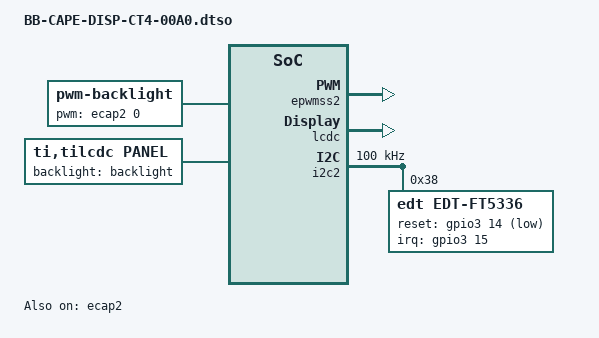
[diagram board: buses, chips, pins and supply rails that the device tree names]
// SPDX-License-Identifier: GPL-2.0-only
/*
 * Copyright (C) 2012 Texas Instruments Incorporated - https://www.ti.com/
 */

/dts-v1/;
/plugin/;

#include <dt-bindings/gpio/gpio.h>
#include <dt-bindings/interrupt-controller/irq.h>
#include <dt-bindings/pinctrl/am33xx.h>

/*
 * Helper to show loaded overlays under: /proc/device-tree/chosen/overlays/
 */
&{/chosen} {
	overlays {
		BB-CAPE-DISP-CT4-00A0.kernel = __TIMESTAMP__;
	};
};

/*
 * Free up the pins used by the cape from the pinmux helpers.
 */
&ocp {
	P8_45_pinmux { status = "disabled"; };	/* lcd: lcd_data0 */
	P8_46_pinmux { status = "disabled"; };	/* lcd: lcd_data1 */
	P8_43_pinmux { status = "disabled"; };	/* lcd: lcd_data2 */
	P8_44_pinmux { status = "disabled"; };	/* lcd: lcd_data3 */
	P8_41_pinmux { status = "disabled"; };	/* lcd: lcd_data4 */
	P8_42_pinmux { status = "disabled"; };	/* lcd: lcd_data5 */
	P8_39_pinmux { status = "disabled"; };	/* lcd: lcd_data6 */
	P8_40_pinmux { status = "disabled"; };	/* lcd: lcd_data7 */
	P8_37_pinmux { status = "disabled"; };	/* lcd: lcd_data8 */
	P8_38_pinmux { status = "disabled"; };	/* lcd: lcd_data9 */
	P8_36_pinmux { status = "disabled"; };	/* lcd: lcd_data10 */
	P8_34_pinmux { status = "disabled"; };	/* lcd: lcd_data11 */
	P8_35_pinmux { status = "disabled"; };	/* lcd: lcd_data12 */
	P8_33_pinmux { status = "disabled"; };	/* lcd: lcd_data13 */
	P8_31_pinmux { status = "disabled"; };	/* lcd: lcd_data14 */
	P8_32_pinmux { status = "disabled"; };	/* lcd: lcd_data15 */

	P8_27_pinmux { status = "disabled"; };	/* lcd: lcd_vsync */
	P8_29_pinmux { status = "disabled"; };	/* lcd: lcd_hsync */
	P8_28_pinmux { status = "disabled"; };	/* lcd: lcd_pclk */
	P8_30_pinmux { status = "disabled"; };	/* lcd: lcd_ac_bias_en */

	P9_28_pinmux { status = "disabled"; };	/* pwm: eCAP2_in_PWM2_out */

	P9_29_pinmux { status = "disabled"; };	/* ft5336: gpio3_15 */
	P9_31_pinmux { status = "disabled"; };	/* ft5336: gpio3_14 */
};

&am33xx_pinmux {
	bb_lcd_pwm_backlight_pins: pinmux_bb_lcd_pwm_backlight_pins {
		pinctrl-single,pins = <
			AM33XX_PADCONF(AM335X_PIN_MCASP0_AHCLKR, PIN_OUTPUT_PULLDOWN,  MUX_MODE4) /* mcasp0_ahclkr.eCAP2_in_PWM2_out */
		>;
	};

	bb_lcd_lcd_pins: pinmux_bb_lcd_lcd_pins {
		pinctrl-single,pins = <
			AM33XX_PADCONF(AM335X_PIN_LCD_DATA0, PIN_OUTPUT, MUX_MODE0)
			AM33XX_PADCONF(AM335X_PIN_LCD_DATA1, PIN_OUTPUT, MUX_MODE0)
			AM33XX_PADCONF(AM335X_PIN_LCD_DATA2, PIN_OUTPUT, MUX_MODE0)
			AM33XX_PADCONF(AM335X_PIN_LCD_DATA3, PIN_OUTPUT, MUX_MODE0)
			AM33XX_PADCONF(AM335X_PIN_LCD_DATA4, PIN_OUTPUT, MUX_MODE0)
			AM33XX_PADCONF(AM335X_PIN_LCD_DATA5, PIN_OUTPUT, MUX_MODE0)
			AM33XX_PADCONF(AM335X_PIN_LCD_DATA6, PIN_OUTPUT, MUX_MODE0)
			AM33XX_PADCONF(AM335X_PIN_LCD_DATA7, PIN_OUTPUT, MUX_MODE0)
			AM33XX_PADCONF(AM335X_PIN_LCD_DATA8, PIN_OUTPUT, MUX_MODE0)
			AM33XX_PADCONF(AM335X_PIN_LCD_DATA9, PIN_OUTPUT, MUX_MODE0)
			AM33XX_PADCONF(AM335X_PIN_LCD_DATA10, PIN_OUTPUT, MUX_MODE0)
			AM33XX_PADCONF(AM335X_PIN_LCD_DATA11, PIN_OUTPUT, MUX_MODE0)
			AM33XX_PADCONF(AM335X_PIN_LCD_DATA12, PIN_OUTPUT, MUX_MODE0)
			AM33XX_PADCONF(AM335X_PIN_LCD_DATA13, PIN_OUTPUT, MUX_MODE0)
			AM33XX_PADCONF(AM335X_PIN_LCD_DATA14, PIN_OUTPUT, MUX_MODE0)
			AM33XX_PADCONF(AM335X_PIN_LCD_DATA15, PIN_OUTPUT, MUX_MODE0)

			AM33XX_PADCONF(AM335X_PIN_LCD_VSYNC, PIN_OUTPUT, MUX_MODE0)
			AM33XX_PADCONF(AM335X_PIN_LCD_HSYNC, PIN_OUTPUT, MUX_MODE0)
			AM33XX_PADCONF(AM335X_PIN_LCD_PCLK, PIN_OUTPUT, MUX_MODE0)
			AM33XX_PADCONF(AM335X_PIN_LCD_AC_BIAS_EN, PIN_OUTPUT, MUX_MODE0)
		>;
	};

	edt_ft5336_ts_pins: pinmux_edt_ft5336_ts_pins {
		pinctrl-single,pins = <
			AM33XX_PADCONF(AM335X_PIN_MCASP0_FSX, PIN_INPUT_PULLDOWN, MUX_MODE7)	/* mcasp0_fsx.gpio3_15 */
			AM33XX_PADCONF(AM335X_PIN_MCASP0_ACLKX, PIN_INPUT_PULLDOWN, MUX_MODE7)	/* mcasp0_aclkx.gpio3_14 */
		>;
	};
};

&epwmss2 {
	status = "okay";
};

&ecap2 {
	pinctrl-names = "default";
	pinctrl-0 = <&bb_lcd_pwm_backlight_pins>;
	status = "okay";
};

&lcdc {
	status = "okay";

	blue-and-red-wiring = "straight";

	//FIXME - LCD doesn't init...
	//port {
	//	lcdc_0: endpoint@0 {
	//		remote-endpoint = <&panel_0>;
	//	};
	//};
};

&i2c2 {
	status = "okay";

	/* this is the configuration part */
	clock-frequency = <100000>;

	#address-cells = <1>;
	#size-cells = <0>;

	edt-ft5336@38 {
		status = "okay";
		compatible = "edt,edt-ft5336", "edt,edt-ft5306", "edt,edt-ft5x06";
		reg = <0x38>;
		pinctrl-names = "default";
		pinctrl-0 = <&edt_ft5336_ts_pins>;
		interrupt-parent = <&gpio3>;
		interrupts = <15 0>;
		reset-gpios = <&gpio3 14 GPIO_ACTIVE_LOW>;

		touchscreen-size-x = <272>;
		touchscreen-size-y = <480>;
		touchscreen-swapped-x-y;
	};
};

&{/} {
	backlight: backlight {
		status = "okay";
		compatible = "pwm-backlight";
		pwms = <&ecap2 0 500000 0>;
		brightness-levels = <
			0  1  2  3  4  5  6  7  8  9
			10 11 12 13 14 15 16 17 18 19
			20 21 22 23 24 25 26 27 28 29
			30 31 32 33 34 35 36 37 38 39
			40 41 42 43 44 45 46 47 48 49
			50 51 52 53 54 55 56 57 58 59
			60 61 62 63 64 65 66 67 68 69
			70 71 72 73 74 75 76 77 78 79
			80 81 82 83 84 85 86 87 88 89
			90 91 92 93 94 95 96 97 98 99
			100
		>;
		default-brightness-level = <50>;
	};

	panel {
		status = "okay";
		compatible = "ti,tilcdc,panel";
		pinctrl-names = "default";
		pinctrl-0 = <&bb_lcd_lcd_pins>;
		backlight = <&backlight>;

		//FIXME - LCD doesn't init...
		//port {
		//	panel_0: endpoint@0 {
		//		remote-endpoint = <&lcdc_0>;
		//	};
		//};

		panel-info {
			ac-bias           = <255>;
			ac-bias-intrpt    = <0>;
			dma-burst-sz      = <16>;
			bpp               = <16>;
			fdd               = <0x80>;
			tft-alt-mode      = <0>;
			stn-565-mode      = <0>;
			mono-8bit-mode    = <0>;
			sync-edge         = <0>;
			sync-ctrl         = <1>;
			raster-order      = <0>;
			fifo-th           = <0>;
		};
		/* ILI6480 */
		display-timings {
			native-mode = <&timing0>;
			timing0: 480x272 {
				clock-frequency = <9000000>;
				hactive = <480>;
				vactive = <272>;
				hfront-porch = <5>;
				hback-porch = <40>;
				hsync-len = <1>;
				vback-porch = <8>;
				vfront-porch = <8>;
				vsync-len = <1>;
				hsync-active = <0>;
				vsync-active = <0>;
			};
		};
	};
};
